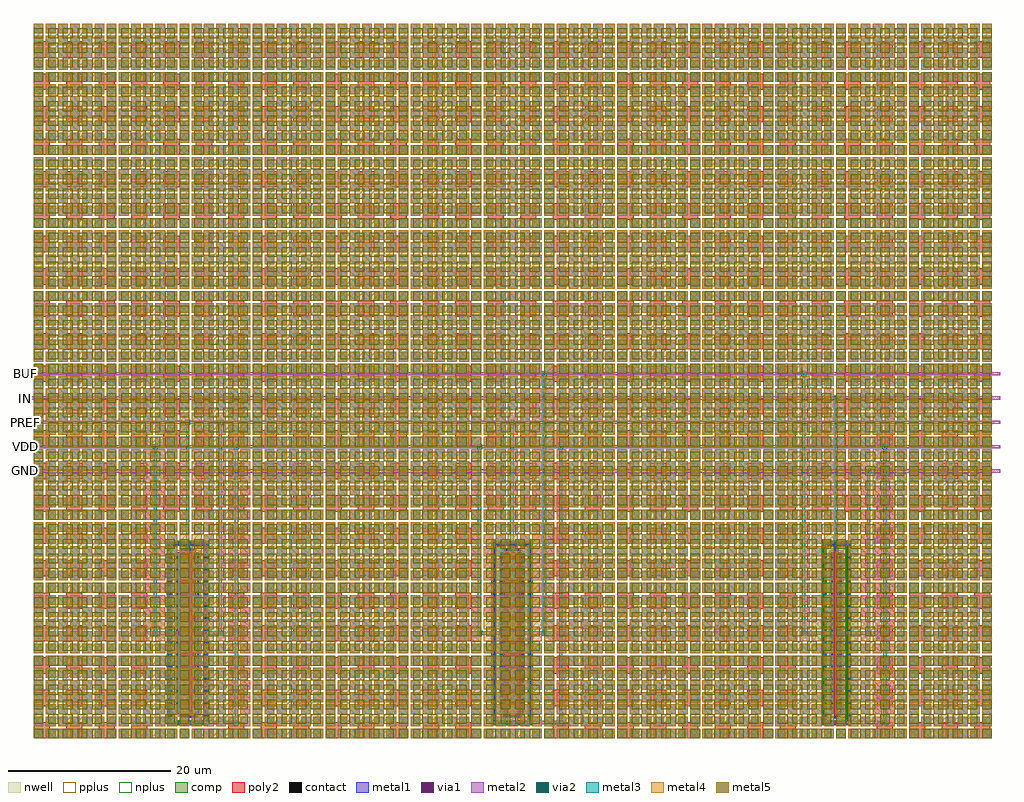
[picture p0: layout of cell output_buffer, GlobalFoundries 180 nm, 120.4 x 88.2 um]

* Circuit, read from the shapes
.subckt output_buffer BUF GND IN PREF VDD
XM1 PREF PREF VDD VDD pfet_03v3 w=20u l=2u
XM2 BUF PREF VDD VDD pfet_03v3 w=20u l=2u
XM3 GND IN BUF VDD pfet_03v3 w=20u l=0.5u
.ends

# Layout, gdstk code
import gdstk
lib = gdstk.Library(unit=1e-6, precision=1e-09)
def R(c, l, rs):  # rectangles x0, y0, x1, y1
    for r in rs: c.add(gdstk.rectangle(r[:2], r[2:], *l))
def A(c, l, x, y, w, h, nx, ny, dx, dy):  # array of equal rectangles
    R(c, l, [(x+i*dx, y+j*dy, x+i*dx+w, y+j*dy+h) for i in range(nx) for j in range(ny)])
nwell = (21, 0)
comp = (22, 0)
poly2 = (30, 0)
pplus = (31, 0)
nplus = (32, 0)
contact = (33, 0)
metal1 = (34, 0)
via1 = (35, 0)
metal2 = (36, 0)
via2 = (38, 0)
metal3 = (42, 0)
metal4 = (46, 0)
metal5 = (81, 0)

mirror_pfet = lib.new_cell('mirror_pfet')
R(mirror_pfet, nwell, [(-2.52,-11.34,2.52,11.34)])
R(mirror_pfet, comp, [(-2.4,-11.22,2.4,-10.86), (-2.4,-10.86,-2.04,10.86), (2.04,-10.86,2.4,10.86), (-1.44,-10,1.44,10), (-2.4,10.86,2.4,11.22)])
R(mirror_pfet, poly2, [(-1,-10.46,1,10.46)])
R(mirror_pfet, pplus, [(-1.23,-10.23,1.23,-10.16), (-1.6,-10.16,1.6,10.16), (-1.23,10.16,1.23,10.23)])
R(mirror_pfet, nplus, [(-2.56,-11.38,2.56,-10.75), (-2.56,-10.75,-1.93,10.75), (1.93,-10.75,2.56,10.75), (-2.56,10.75,2.56,11.38)])
A(mirror_pfet, contact, -2.33, -10.45, 0.22, 0.22, 1, 45, 0, 0.47)
A(mirror_pfet, contact, 2.11, -10.45, 0.22, 0.22, 1, 45, 0, 0.47)
A(mirror_pfet, contact, -0.815, -10.39, 0.22, 0.22, 4, 2, 0.47, 20.56)
A(mirror_pfet, contact, -1.37, -9.745, 0.22, 0.22, 1, 42, 0, 0.47)
A(mirror_pfet, contact, 1.15, -9.745, 0.22, 0.22, 1, 42, 0, 0.47)
R(mirror_pfet, metal1, [(-2.335,-11.155,2.335,-10.925), (-2.335,-10.925,-2.105,10.925), (2.105,-10.925,2.335,10.925), (-0.99,-10.395,0.99,-10.165), (-1.375,-9.99,-1.145,9.99), (1.145,-9.99,1.375,9.99), (-0.99,10.165,0.99,10.395), (-2.335,10.925,2.335,11.155)])
mirror_pfet.add(gdstk.Label('D', (1.26,0), layer=22, texttype=0))
mirror_pfet.add(gdstk.Label('S', (-1.26,0), layer=22, texttype=0))
mirror_pfet.add(gdstk.Label('G', (0,10.28), layer=30, texttype=10))
mirror_pfet.add(gdstk.Label('B', (0,-11.04), layer=34, texttype=10))

buffer_pfet = lib.new_cell('buffer_pfet')
R(buffer_pfet, nwell, [(-1.77,-11.34,1.77,11.34)])
R(buffer_pfet, comp, [(-1.65,-11.22,1.65,-10.86), (-1.65,-10.86,-1.29,10.86), (1.29,-10.86,1.65,10.86), (-0.69,-10,0.69,10), (-1.65,10.86,1.65,11.22)])
R(buffer_pfet, poly2, [(-0.25,-10.46,0.25,10.46)])
R(buffer_pfet, pplus, [(-0.48,-10.23,0.48,-10.16), (-0.85,-10.16,0.85,10.16), (-0.48,10.16,0.48,10.23)])
R(buffer_pfet, nplus, [(-1.81,-11.38,1.81,-10.75), (-1.81,-10.75,-1.18,10.75), (1.18,-10.75,1.81,10.75), (-1.81,10.75,1.81,11.38)])
A(buffer_pfet, contact, -1.58, -10.45, 0.22, 0.22, 1, 45, 0, 0.47)
A(buffer_pfet, contact, 1.36, -10.45, 0.22, 0.22, 1, 45, 0, 0.47)
A(buffer_pfet, contact, -0.62, -9.745, 0.22, 0.22, 1, 42, 0, 0.47)
A(buffer_pfet, contact, 0.4, -9.745, 0.22, 0.22, 1, 42, 0, 0.47)
R(buffer_pfet, contact, [(-0.11,-10.39,0.11,-10.17), (-0.11,10.17,0.11,10.39)])
R(buffer_pfet, metal1, [(-1.585,-11.155,1.585,-10.925), (-1.585,-10.925,-1.355,10.925), (1.355,-10.925,1.585,10.925), (-0.24,-10.55,0.24,-10.165), (-0.625,-9.99,-0.395,9.99), (0.395,-9.99,0.625,9.99), (-0.24,10.165,0.24,10.55), (-1.585,10.925,1.585,11.155)])
buffer_pfet.add(gdstk.Label('D', (0.51,0), layer=22, texttype=0))
buffer_pfet.add(gdstk.Label('S', (-0.51,0), layer=22, texttype=0))
buffer_pfet.add(gdstk.Label('G', (0,10.28), layer=30, texttype=10))
buffer_pfet.add(gdstk.Label('B', (0,-11.04), layer=34, texttype=10))

output_buffer = lib.new_cell('output_buffer')
A(output_buffer, poly2, 1, 7, 2, 2, 4, 7, 4, 4)
A(output_buffer, poly2, 25, 7, 2, 2, 8, 7, 4, 4)
A(output_buffer, poly2, 65, 7, 2, 2, 8, 7, 4, 4)
A(output_buffer, poly2, 105, 7, 2, 2, 4, 7, 4, 4)
A(output_buffer, poly2, 1, 35, 2, 2, 30, 15, 4, 4)
A(output_buffer, metal1, 1, 7, 1.2, 1.2, 79, 2, 1.5, 25.5)
A(output_buffer, metal1, 1, 8.5, 1.2, 1.2, 11, 16, 1.5, 1.5)
A(output_buffer, metal1, 23.5, 8.5, 1.2, 1.2, 22, 16, 1.5, 1.5)
A(output_buffer, metal1, 64, 8.5, 1.2, 1.2, 22, 16, 1.5, 1.5)
A(output_buffer, metal1, 103, 8.5, 1.2, 1.2, 11, 16, 1.5, 1.5)
A(output_buffer, metal1, 19.76, 8.72, 0.48, 0.48, 3, 2, 40, 21.44)
A(output_buffer, metal1, 59.5, 11.5, 1.2, 1.2, 1, 5, 0, 1.5)
A(output_buffer, metal1, 59.5, 22, 1.2, 1.2, 1, 5, 0, 1.5)
A(output_buffer, metal1, 1, 34, 1.2, 1.2, 79, 41, 1.5, 1.5)
R(output_buffer, metal1, [(18.5,19.76,18.98,20.24), (21.02,19.76,21.5,20.24), (58.5,19.76,58.98,20.24), (61.02,19.76,61.5,20.24), (99.25,19.76,99.73,20.24), (100.27,19.76,100.75,20.24)])
A(output_buffer, via1, 19.87, 8.83, 0.26, 0.26, 3, 2, 40, 21.44)
R(output_buffer, via1, [(18.61,19.87,18.87,20.13), (21.13,19.87,21.39,20.13), (58.61,19.87,58.87,20.13), (61.13,19.87,61.39,20.13), (99.36,19.87,99.62,20.13), (100.38,19.87,100.64,20.13)])
A(output_buffer, metal2, 1, 7, 1.2, 1.2, 79, 2, 1.5, 3)
A(output_buffer, metal2, 1, 8.5, 1.2, 1.2, 12, 2, 1.5, 21)
A(output_buffer, metal2, 28, 8.5, 1.2, 1.2, 21, 1, 1.5, 0)
A(output_buffer, metal2, 67, 8.5, 1.2, 1.2, 21, 1, 1.5, 0)
A(output_buffer, metal2, 107.5, 8.5, 1.2, 1.2, 8, 1, 1.5, 0)
A(output_buffer, metal2, 25.7, 8.66, 0.6, 0.6, 3, 1, 40, 0)
A(output_buffer, metal2, 19.76, 8.72, 0.48, 0.48, 3, 2, 40, 21.44)
A(output_buffer, metal2, 19.8, 8.76, 6.4, 0.4, 3, 1, 40, 0)
A(output_buffer, metal2, 1, 11.5, 1.2, 1.2, 79, 5, 1.5, 1.5)
A(output_buffer, metal2, 1, 19, 1.2, 1.2, 9, 2, 1.5, 1.5)
A(output_buffer, metal2, 25, 19, 1.2, 1.2, 20, 2, 1.5, 1.5)
A(output_buffer, metal2, 65.5, 19, 1.2, 1.2, 20, 2, 1.5, 1.5)
A(output_buffer, metal2, 106, 19, 1.2, 1.2, 9, 2, 1.5, 1.5)
A(output_buffer, metal2, 1, 22, 1.2, 1.2, 79, 5, 1.5, 1.5)
A(output_buffer, metal2, 22, 29.5, 1.2, 1.2, 25, 2, 1.5, 1.5)
A(output_buffer, metal2, 61, 29.5, 1.2, 1.2, 25, 2, 1.5, 1.5)
A(output_buffer, metal2, 101.5, 29.5, 1.2, 1.2, 12, 2, 1.5, 1.5)
A(output_buffer, metal2, 19.7, 30.1, 0.6, 0.6, 3, 1, 40, 0)
A(output_buffer, metal2, 19.8, 30.2, 0.4, 0.4, 3, 1, 40, 0)
A(output_buffer, metal2, 1, 31, 1.2, 1.2, 12, 1, 1.5, 0)
A(output_buffer, metal2, 1, 32.5, 1.2, 1.2, 79, 4, 1.5, 1.5)
A(output_buffer, metal2, -0.2, 39.8, 120.4, 0.4, 1, 5, 0, 3)
A(output_buffer, metal2, 1, 53.5, 1.2, 1.2, 79, 28, 1.5, 1.5)
R(output_buffer, metal2, [(15.7,19.7,16.3,20.3), (23.7,19.7,24.3,20.3), (55.7,19.7,56.3,20.3), (63.7,19.7,64.3,20.3), (95.7,19.7,96.3,20.3), (103.7,19.7,104.3,20.3), (18.5,19.76,18.98,20.24), (21.02,19.76,21.5,20.24), (58.5,19.76,58.98,20.24), (61.02,19.76,61.5,20.24), (99.25,19.76,99.73,20.24), (100.27,19.76,100.75,20.24), (15.8,19.8,18.94,20.2), (21.06,19.8,24.2,20.2), (55.8,19.8,58.94,20.2), (61.06,19.8,64.2,20.2), (95.8,19.8,99.69,20.2), (100.31,19.8,104.2,20.2), (103.7,39.7,104.3,40.3), (15.7,42.7,16.3,43.3), (25.7,42.7,26.3,43.3), (55.7,42.7,56.3,43.3), (65.7,42.7,66.3,43.3), (105.7,42.7,106.3,43.3), (19.7,45.7,20.3,46.3), (23.7,45.7,24.3,46.3), (59.7,45.7,60.3,46.3), (99.7,48.7,100.3,49.3), (63.7,51.7,64.3,52.3), (95.7,51.7,96.3,52.3)])
A(output_buffer, via2, 25.87, 8.83, 0.26, 0.26, 3, 1, 40, 0)
A(output_buffer, via2, 19.87, 30.27, 0.26, 0.26, 3, 1, 40, 0)
R(output_buffer, via2, [(15.87,19.87,16.13,20.13), (23.87,19.87,24.13,20.13), (55.87,19.87,56.13,20.13), (63.87,19.87,64.13,20.13), (95.87,19.87,96.13,20.13), (103.87,19.87,104.13,20.13), (103.87,39.87,104.13,40.13), (15.87,42.87,16.13,43.13), (25.87,42.87,26.13,43.13), (55.87,42.87,56.13,43.13), (65.87,42.87,66.13,43.13), (105.87,42.87,106.13,43.13), (19.87,45.87,20.13,46.13), (23.87,45.87,24.13,46.13), (59.87,45.87,60.13,46.13), (99.87,48.87,100.13,49.13), (63.87,51.87,64.13,52.13), (95.87,51.87,96.13,52.13)])
A(output_buffer, metal3, 1, 7, 1.2, 1.2, 79, 2, 1.5, 46.5)
A(output_buffer, metal3, 1, 8.5, 1.2, 1.2, 16, 7, 1.5, 1.5)
A(output_buffer, metal3, 28, 8.5, 1.2, 1.2, 25, 7, 1.5, 1.5)
A(output_buffer, metal3, 67, 8.5, 1.2, 1.2, 25, 7, 1.5, 1.5)
A(output_buffer, metal3, 107.5, 8.5, 1.2, 1.2, 8, 24, 1.5, 1.5)
A(output_buffer, metal3, 25.7, 8.66, 0.6, 0.6, 3, 1, 40, 0)
A(output_buffer, metal3, 25.8, 8.76, 0.4, 34.44, 3, 1, 40, 0)
A(output_buffer, metal3, 1, 19, 1.2, 1.2, 9, 17, 1.5, 1.5)
A(output_buffer, metal3, 17.5, 19, 1.2, 1.2, 4, 7, 1.5, 1.5)
A(output_buffer, metal3, 28, 19, 1.2, 1.2, 18, 17, 1.5, 1.5)
A(output_buffer, metal3, 58, 19, 1.2, 1.2, 3, 7, 1.5, 1.5)
A(output_buffer, metal3, 67, 19, 1.2, 1.2, 19, 17, 1.5, 1.5)
A(output_buffer, metal3, 97, 19, 1.2, 1.2, 4, 7, 1.5, 1.5)
A(output_buffer, metal3, 17.5, 29.5, 1.2, 1.2, 1, 10, 0, 1.5)
A(output_buffer, metal3, 22, 29.5, 1.2, 1.2, 1, 12, 0, 1.5)
A(output_buffer, metal3, 58, 29.5, 1.2, 1.2, 1, 10, 0, 1.5)
A(output_buffer, metal3, 61, 29.5, 1.2, 1.2, 1, 12, 0, 1.5)
A(output_buffer, metal3, 97, 29.5, 1.2, 1.2, 1, 14, 0, 1.5)
A(output_buffer, metal3, 101.5, 29.5, 1.2, 1.2, 1, 10, 0, 1.5)
A(output_buffer, metal3, 19.7, 30.1, 0.6, 0.6, 3, 1, 40, 0)
A(output_buffer, metal3, 1, 44.5, 1.2, 1.2, 12, 2, 1.5, 1.5)
A(output_buffer, metal3, 25, 44.5, 1.2, 1.2, 23, 2, 1.5, 1.5)
A(output_buffer, metal3, 65.5, 44.5, 1.2, 1.2, 20, 6, 1.5, 1.5)
A(output_buffer, metal3, 101.5, 44.5, 1.2, 1.2, 12, 4, 1.5, 1.5)
A(output_buffer, metal3, 1, 47.5, 1.2, 1.2, 41, 4, 1.5, 1.5)
A(output_buffer, metal3, 97, 50.5, 1.2, 1.2, 15, 2, 1.5, 1.5)
A(output_buffer, metal3, 1, 55, 1.2, 1.2, 79, 27, 1.5, 1.5)
R(output_buffer, metal3, [(15.7,19.7,16.3,20.3), (23.7,19.7,24.3,20.3), (55.7,19.7,56.3,20.3), (63.7,19.7,64.3,20.3), (95.7,19.7,96.3,20.3), (103.7,19.7,104.3,20.3), (15.8,19.8,16.2,43.2), (23.8,19.8,24.2,46.2), (55.8,19.8,56.2,43.2), (63.8,19.8,64.2,52.2), (95.8,19.8,96.2,52.2), (103.8,19.8,104.2,40.2), (19.8,30.2,20.2,46.2), (59.8,30.2,60.2,46.2), (99.8,30.2,100.2,49.2), (103.7,39.7,104.3,40.3), (103,41.5,104.2,42.7), (15.7,42.7,16.3,43.3), (25.7,42.7,26.3,43.3), (55.7,42.7,56.3,43.3), (65.7,42.7,66.3,43.3), (105.7,42.7,106.3,43.3), (103,43,104.2,44.2), (19.7,45.7,20.3,46.3), (23.7,45.7,24.3,46.3), (59.7,45.7,60.3,46.3), (99.7,48.7,100.3,49.3), (63.7,51.7,64.3,52.3), (95.7,51.7,96.3,52.3)])
A(output_buffer, metal4, 1, 7, 1.2, 1.2, 79, 59, 1.5, 1.5)
A(output_buffer, metal5, 1, 7, 1.2, 1.2, 66, 49, 1.8, 1.8)
output_buffer.add(gdstk.Reference(mirror_pfet, (20,20)))
output_buffer.add(gdstk.Reference(mirror_pfet, (60,20)))
output_buffer.add(gdstk.Reference(buffer_pfet, (100,20)))
output_buffer.add(gdstk.Label('GND', (0,40), layer=36, texttype=10))
output_buffer.add(gdstk.Label('VDD', (0,43), layer=36, texttype=10))
output_buffer.add(gdstk.Label('PREF', (0,46), layer=36, texttype=10))
output_buffer.add(gdstk.Label('IN', (0,49), layer=36, texttype=10))
output_buffer.add(gdstk.Label('BUF', (0,52), layer=36, texttype=10))

lib.write_gds('output_buffer.gds')
